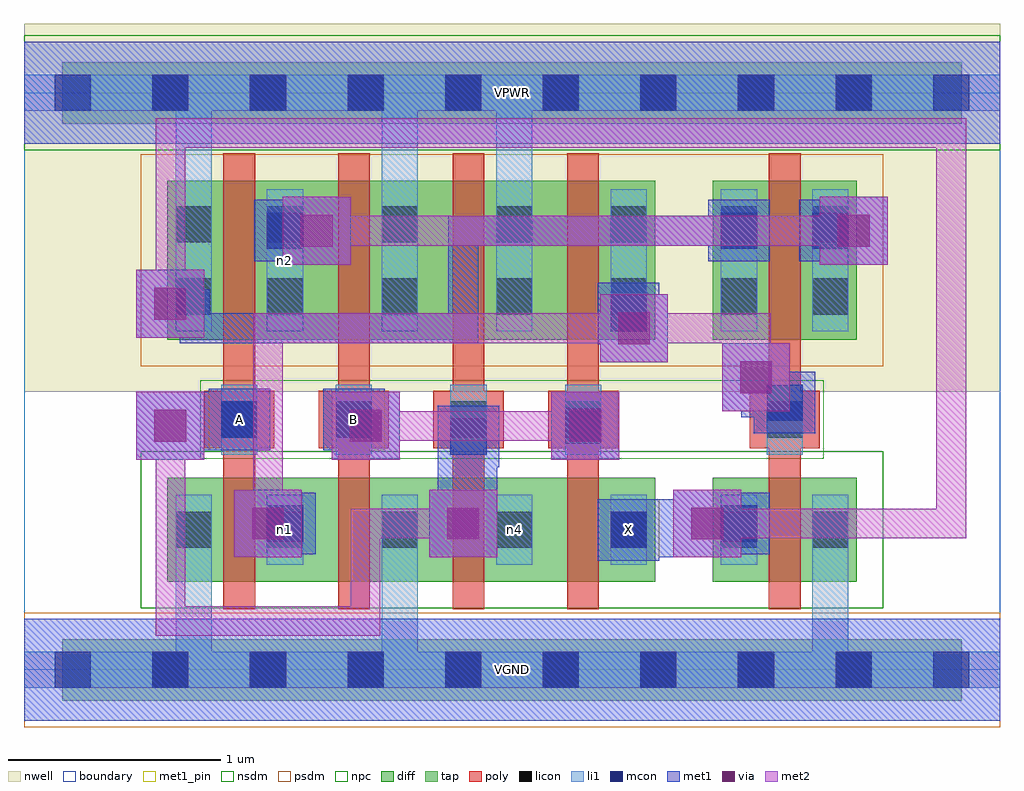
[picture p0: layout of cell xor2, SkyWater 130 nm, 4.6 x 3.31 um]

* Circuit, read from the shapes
.subckt xor2 A B VGND VPWR X n1 n2 n4
XM1 n1 A VGND VGND sky130_fd_pr__nfet_01v8 w=0.49 l=0.15
XM2 VGND B n1 VGND sky130_fd_pr__nfet_01v8 w=0.49 l=0.15
XM3 n4 A VGND VGND sky130_fd_pr__nfet_01v8 w=0.49 l=0.15
XM4 X B n4 VGND sky130_fd_pr__nfet_01v8 w=0.49 l=0.15
XM5 VGND n1 X VGND sky130_fd_pr__nfet_01v8 w=0.49 l=0.15
XM6 n2 A VPWR VPWR sky130_fd_pr__pfet_01v8 w=0.75 l=0.15
XM7 VPWR B n2 VPWR sky130_fd_pr__pfet_01v8 w=0.75 l=0.15
XM8 VPWR A VPWR VPWR sky130_fd_pr__pfet_01v8 w=0.75 l=0.15
XM9 n1 B VPWR VPWR sky130_fd_pr__pfet_01v8 w=0.75 l=0.15
XM10 n2 n1 X VPWR sky130_fd_pr__pfet_01v8 w=0.75 l=0.15
.ends

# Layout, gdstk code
import gdstk
lib = gdstk.Library(unit=1e-6, precision=1e-09)
def R(c, l, rs):  # rectangles x0, y0, x1, y1
    for r in rs: c.add(gdstk.rectangle(r[:2], r[2:], *l))
def A(c, l, x, y, w, h, nx, ny, dx, dy):  # array of equal rectangles
    R(c, l, [(x+i*dx, y+j*dy, x+i*dx+w, y+j*dy+h) for i in range(nx) for j in range(ny)])
nwell = (64, 20)
diff = (65, 20)
tap = (65, 44)
poly = (66, 20)
licon = (66, 44)
li1 = (67, 20)
mcon = (67, 44)
met1_pin = (68, 16)
met1 = (68, 20)
via = (68, 44)
met2 = (69, 20)
nsdm = (93, 44)
psdm = (94, 20)
npc = (95, 20)
boundary = (235, 4)

xor2 = lib.new_cell('xor2')
R(xor2, nwell, [(0,1.31,4.6,3.045)])
R(xor2, diff, [(0.675,0.415,2.975,0.905), (3.245,0.415,3.925,0.905), (0.675,1.555,2.975,2.305), (3.245,1.555,3.925,2.305)])
R(xor2, tap, [(0.18,-0.145,4.42,0.145), (0.18,2.575,4.42,2.865)])
A(xor2, poly, 0.94, 0.285, 0.15, 2.15, 4, 1, 0.54, 0)
A(xor2, poly, 0.85, 1.045, 0.33, 0.27, 4, 1, 0.54, 0)
R(xor2, poly, [(3.51,0.285,3.66,2.435), (3.42,1.045,3.75,1.315)])
A(xor2, licon, 0.605, -0.085, 0.17, 0.17, 8, 2, 0.46, 2.72)
A(xor2, licon, 1.145, 0.575, 0.17, 0.17, 4, 2, 0.54, 1.1)
A(xor2, licon, 0.93, 1.095, 0.17, 0.17, 4, 1, 0.54, 0)
A(xor2, licon, 1.145, 2.015, 0.17, 0.17, 4, 1, 0.54, 0)
R(xor2, licon, [(0.715,0.575,0.885,0.745), (3.285,0.575,3.455,0.745), (3.715,0.575,3.885,0.745), (3.5,1.095,3.67,1.265), (0.715,1.675,0.885,1.845), (3.285,1.675,3.455,1.845), (3.715,1.675,3.885,1.845), (0.715,2.015,0.885,2.185), (3.285,2.015,3.455,2.185), (3.715,2.015,3.885,2.185)])
A(xor2, li1, 1.145, 0.495, 0.17, 0.33, 4, 1, 0.54, 0)
A(xor2, li1, 0.93, 1.015, 0.17, 0.33, 4, 1, 0.54, 0)
A(xor2, li1, 1.145, 1.595, 0.17, 0.67, 4, 1, 0.54, 0)
R(xor2, li1, [(0,-0.085,4.6,0.085), (0.715,-0.085,0.885,0.825), (1.685,-0.085,1.855,0.825), (3.715,-0.085,3.885,0.825), (0.715,0.495,0.885,0.825), (3.285,0.495,3.455,0.825), (3.715,0.495,3.885,0.825), (3.5,1.015,3.67,1.345), (0.715,1.595,0.885,2.265), (0.715,1.595,0.885,2.805), (1.685,1.595,1.855,2.805), (2.225,1.595,2.395,2.805), (3.285,1.595,3.455,2.265), (3.715,1.595,3.885,2.265), (0,2.635,4.6,2.805)])
A(xor2, mcon, 0.145, -0.085, 0.17, 0.17, 10, 2, 0.46, 2.72)
R(xor2, mcon, [(2.765,0.575,2.935,0.745), (1.145,0.605,1.315,0.775), (3.285,0.605,3.455,0.775), (2.01,1.015,2.18,1.185), (2.55,1.065,2.72,1.235), (0.93,1.095,1.1,1.265), (1.47,1.095,1.64,1.265), (3.5,1.175,3.67,1.345), (2.765,1.595,2.935,1.765), (1.145,1.985,1.315,2.155), (3.285,1.985,3.455,2.155), (3.715,1.985,3.885,2.155)])
R(xor2, met1_pin, [(0,-0.24,4.6,0.24), (2.705,0.515,2.995,0.805), (0.87,1.035,1.16,1.325), (1.41,1.035,1.7,1.325), (0,2.48,4.6,2.96)])
R(xor2, met1, [(0,-0.24,4.6,0.24), (2.705,0.515,2.995,0.805), (0.99,0.53,1.31,0.85), (1.91,0.53,2.23,0.85), (2.995,0.53,3.06,0.805), (3.06,0.53,3.38,0.85), (1.085,0.545,1.375,0.835), (3.225,0.545,3.515,0.835), (1.08,0.62,1.3,0.76), (2,0.62,2.14,0.99), (2.805,0.62,2.945,0.76), (2.805,0.62,3.29,0.76), (3.15,0.62,3.44,0.76), (1.95,0.85,2.23,0.955), (2,0.85,2.14,1.17), (1.95,0.955,2.24,1.245), (0.53,0.99,0.85,1.31), (1.45,0.99,1.77,1.31), (2.485,0.99,2.805,1.31), (2.49,1.005,2.78,1.295), (2,1.03,2.165,1.17), (0.85,1.035,0.87,1.31), (0.87,1.035,1.16,1.325), (1.41,1.035,1.7,1.325), (0.62,1.08,1.105,1.22), (0.965,1.08,1.105,1.22), (1.54,1.08,1.68,1.22), (2.565,1.08,2.715,1.22), (3.44,1.115,3.73,1.405), (3.38,1.19,3.655,1.33), (3.38,1.19,3.52,1.45), (3.29,1.22,3.61,1.54), (2.715,1.45,3.035,1.77), (2.705,1.535,2.995,1.825), (0.735,1.54,0.875,1.795), (0.735,1.54,2.14,1.68), (2,1.54,2.14,2.14), (2.805,1.54,2.945,1.75), (0.53,1.565,0.85,1.885), (2.78,1.61,2.945,1.75), (0.62,1.655,0.875,1.795), (1.22,1.91,1.54,2.23), (3.75,1.91,4.07,2.23), (1.085,1.925,1.375,2.215), (3.225,1.925,3.515,2.215), (3.655,1.925,3.945,2.215), (1.16,2,1.45,2.14), (2,2,3.29,2.14), (3.15,2,3.44,2.14), (3.73,2,3.98,2.14), (0,2.48,4.6,2.96)])
R(xor2, via, [(1.075,0.615,1.225,0.765), (1.995,0.615,2.145,0.765), (3.145,0.615,3.295,0.765), (0.615,1.075,0.765,1.225), (1.535,1.075,1.685,1.225), (2.57,1.075,2.72,1.225), (3.375,1.305,3.525,1.455), (2.8,1.535,2.95,1.685), (0.615,1.65,0.765,1.8), (1.305,1.995,1.455,2.145), (3.835,1.995,3.985,2.145)])
R(xor2, met2, [(0.62,0.16,0.76,1.22), (0.62,0.16,1.68,0.3), (1.54,0.16,1.68,0.76), (0.99,0.53,1.31,0.85), (1.91,0.53,2.23,0.85), (3.06,0.53,3.38,0.85), (1.08,0.62,1.22,1.68), (1.54,0.62,2.14,0.76), (3.15,0.62,4.44,0.76), (4.3,0.62,4.44,2.6), (0.53,0.99,0.85,1.31), (1.45,0.99,1.77,1.31), (2.485,0.99,2.805,1.31), (1.54,1.08,2.715,1.22), (3.29,1.22,3.61,1.54), (3.38,1.31,3.52,1.68), (2.715,1.45,3.035,1.77), (1.08,1.54,2.945,1.68), (2.805,1.54,3.52,1.68), (0.53,1.565,0.85,1.885), (0.62,1.655,0.76,2.6), (1.22,1.91,1.54,2.23), (3.75,1.91,4.07,2.23), (1.31,2,3.98,2.14), (0.62,2.46,4.44,2.6)])
R(xor2, nsdm, [(0.55,0.29,4.05,1.03), (0,2.45,4.6,2.99)])
R(xor2, psdm, [(0,-0.27,4.6,0.27), (0.55,1.43,4.05,2.43)])
R(xor2, npc, [(0.83,0.995,3.77,1.365)])
R(xor2, boundary, [(0,0,4.6,2.72)])
xor2.add(gdstk.Label('n1', (1.23,0.66), layer=67, texttype=5))
xor2.add(gdstk.Label('n4', (2.31,0.66), layer=67, texttype=5))
xor2.add(gdstk.Label('n2', (1.23,1.93), layer=67, texttype=5))
xor2.add(gdstk.Label('A', (1.015,1.18), layer=68, texttype=5))
xor2.add(gdstk.Label('B', (1.555,1.18), layer=68, texttype=5))
xor2.add(gdstk.Label('X', (2.85,0.66), layer=68, texttype=5))
xor2.add(gdstk.Label('VPWR', (2.3,2.72), layer=68, texttype=5))
xor2.add(gdstk.Label('VGND', (2.3,0), layer=68, texttype=5))
xor2.add(gdstk.Label('A', (1.015,1.18), layer=68, texttype=16))
xor2.add(gdstk.Label('B', (1.555,1.18), layer=68, texttype=16))
xor2.add(gdstk.Label('X', (2.85,0.66), layer=68, texttype=16))
xor2.add(gdstk.Label('VPWR', (2.3,2.72), layer=68, texttype=16))
xor2.add(gdstk.Label('VGND', (2.3,0), layer=68, texttype=16))

lib.write_gds('xor2.gds')
